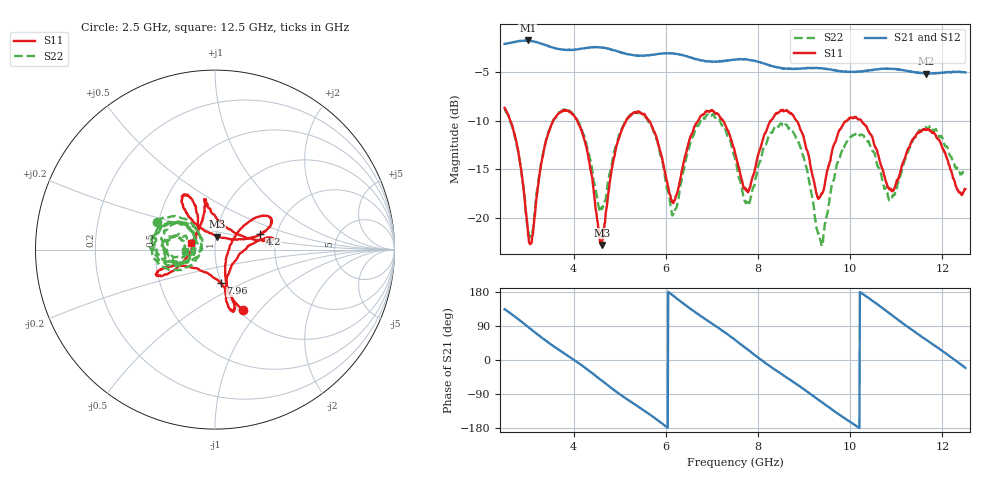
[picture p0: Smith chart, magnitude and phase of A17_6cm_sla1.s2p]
!Keysight Technologies N9950B: A.12.38
!Date: Monday, 17 April 2023 19:10:20
!Timezone: (UTC-06:00) Central Time (US & Canada)
!Model: N9950B
!Serial: MY61131330
!GPS Latitude:
!GPS Longitude:
!GPS TimeStamp: 0001-01-01 00:00:00Z
!GPS Seconds Since Last Read: 0
!CHECKSUM:1442037510
!Correction: S11(ON U)S21(ON U)S12(ON U)S22(ON U)
!S2P File: Measurements:S11,S21,S12,S22:
# Hz S DB R 50
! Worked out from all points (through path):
!   1001 points, 2.5 GHz to 12.5 GHz, reference 50 ohm
!   highest |S21| = -1.76 dB at 3 GHz (marker M1); lowest = -5.2 dB at 11.64 GHz (marker M2)
!   group delay of S21, straight-line fit = 242 ps
!   lowest |S11| = -22.8 dB at 4.61 GHz (marker M3), VSWR 1.16, Z = 50.5 + j7.32 ohm
!   |S11| at or under -10 dB: 5.63 GHz to 6.698 GHz (1.068 GHz wide, 17.3 % of centre); 8.833 GHz to 9.933 GHz (1.101 GHz wide, 11.7 % of centre); 10.24 GHz to end of sweep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
!   |S22| runs from -22.9 to -8.8 dB; largest |S21 - S12| = 0.0095
!   S11 on the Smith chart (normalised r, x): 2.5 GHz: 1.05, -0.81; 4.2 GHz: 1.64, +0.30; 7.96 GHz: 0.99, -0.39; 12.5 GHz: 0.76, +0.06
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2.5e9  -8.69 -65.2  -2.10 134.1  -2.13 134.1  -8.87 154.7
2.78e9  -12.79 -71.5  -1.85 109.3  -1.89 109.4  -12.83 133.1
3e9  -20.89 -47.3  -1.76 88.2  -1.79 88.3  -20.86 147.9
3.09e9  -22.38 -0.6  -1.83 79.5  -1.87 79.5  -21.71 -171.3
3.57e9  -9.91 35.7  -2.51 35.8  -2.54 35.9  -9.84 -164.9
4.17e9  -10.93 19.6  -2.60 -13.8  -2.61 -13.7  -10.86 148.5
4.2e9  -11.48 18.8  -2.59 -16.4  -2.61 -16.4  -11.29 146.6
4.61e9  -22.75 81.7  -2.50 -54.8  -2.50 -54.6  -18.86 176.2
5.14e9  -9.95 125.2  -3.15 -102.1  -3.14 -101.9  -9.88 -170.2
5.84e9  -12.51 116.1  -3.15 -160.5  -3.16 -160.4  -12.64 141.8
6.18e9  -18.21 165.9  -3.10 167.7  -3.11 167.7  -19.08 173.3
6.68e9  -10.15 -153.6  -3.70 122.5  -3.69 122.5  -10.56 -169.6
7.5e9  -13.24 -155.1  -3.74 53.0  -3.72 53.4  -13.85 138.8
7.76e9  -17.21 -114.3  -3.71 28.8  -3.73 28.9  -18.33 165.0
7.96e9  -14.43 -79.9  -3.91 10.1  -3.89 10.1  -15.70 -168.9
8.6e9  -8.96 -73.8  -4.66 -44.4  -4.66 -44.1  -10.38 159.7
9.17e9  -15.36 -67.3  -4.61 -92.8  -4.61 -91.9  -17.67 132.6
9.39e9  -17.47 -16.1  -4.65 -111.9  -4.66 -112.0  -22.73 177.7
1.005e10  -9.74 10.7  -4.98 -167.3  -5.00 -167.6  -11.49 -175.7
1.084e10  -16.96 44.7  -4.66 124.1  -4.66 124.3  -18.15 173.5
1.164e10  -10.92 100.8  -5.17 54.1  -5.13 54.2  -10.62 -177.3
1.25e10  -17.02 164.9  -5.04 -20.9  -5.04 -21.0  -15.44 -177.2
